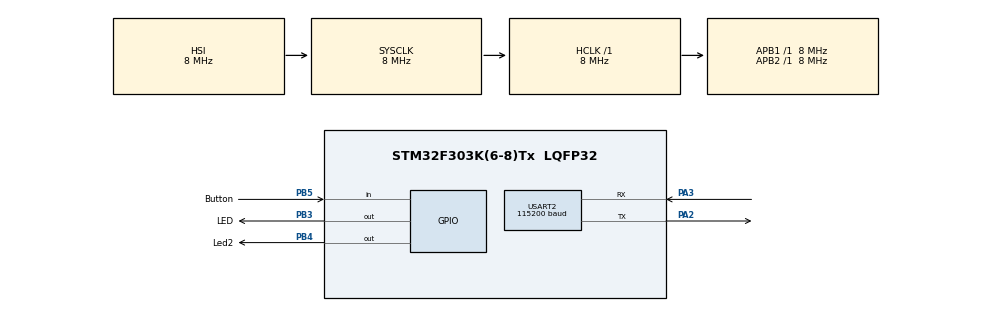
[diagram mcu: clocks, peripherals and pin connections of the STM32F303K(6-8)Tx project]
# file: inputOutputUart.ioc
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Dma.Request0=USART2_TX
Dma.USART2_TX.0.Direction=DMA_MEMORY_TO_PERIPH
Dma.USART2_TX.0.Instance=DMA1_Channel7
Dma.USART2_TX.0.MemDataAlignment=DMA_MDATAALIGN_BYTE
Dma.USART2_TX.0.MemInc=DMA_MINC_ENABLE
Dma.USART2_TX.0.Mode=DMA_CIRCULAR
Dma.USART2_TX.0.PeriphDataAlignment=DMA_PDATAALIGN_BYTE
Dma.USART2_TX.0.PeriphInc=DMA_PINC_DISABLE
Dma.USART2_TX.0.Priority=DMA_PRIORITY_MEDIUM
Mcu.Family=STM32F3
Mcu.Name=STM32F303K(6-8)Tx
Mcu.Package=LQFP32
NVIC.DMA1_Channel7_IRQn=true\:0\:0\:false\:false\:true\:false\:true\:true
NVIC.PriorityGroup=NVIC_PRIORITYGROUP_4
PA13.GPIO_Label=SWDIO
PA13.Signal=SYS_JTMS-SWDIO
PA14.GPIO_Label=SWCLK
PA14.Signal=SYS_JTCK-SWCLK
PA2.Mode=Asynchronous
PA2.Signal=USART2_TX
PA3.Mode=Asynchronous
PA3.Signal=USART2_RX
PB3.GPIO_Label=LED
PB3.Signal=GPIO_Output
PB4.GPIO_Label=Led2
PB4.Signal=GPIO_Output
PB5.GPIO_Label=Button
PB5.Signal=GPIO_Input
PF0\ /\ OSC_IN.GPIO_Label=MCO
PF0\ /\ OSC_IN.Signal=RCC_OSC_IN
ProjectManager.HeapSize=0x200
ProjectManager.StackSize=0x400
ProjectManager.TargetToolchain=STM32CubeIDE
RCC.AHBFreq_Value=8000000
RCC.APB1Freq_Value=8000000
RCC.APB2Freq_Value=8000000
RCC.CortexFreq_Value=8000000
RCC.HSE_VALUE=8000000
RCC.HSI_VALUE=8000000
RCC.SYSCLKFreq_VALUE=8000000
USART2.BaudRate=115200
USART2.VirtualMode-Asynchronous=VM_ASYNC
board=NUCLEO-F303K8

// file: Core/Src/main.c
/* USER CODE BEGIN Header */
/**
  ******************************************************************************
  * @file           : main.c
  * @brief          : Main program body
  ******************************************************************************
  * @attention
  *
  * Copyright (c) 2025 STMicroelectronics.
  * All rights reserved.
  *
  * This software is licensed under terms that can be found in the LICENSE file
  * in the root directory of this software component.
  * If no LICENSE file comes with this software, it is provided AS-IS.
  *
  ******************************************************************************
  */
/* USER CODE END Header */
#include "main.h"

/* USER CODE BEGIN Includes */
#include <stdio.h>
/* USER CODE END Includes */

/* USER CODE BEGIN PD */
#define DB_TIME	185
/* USER CODE END PD */

UART_HandleTypeDef huart2;
DMA_HandleTypeDef hdma_usart2_tx;

/* USER CODE BEGIN PV */
uint8_t c=1;
unsigned long lastState=0;
/* USER CODE END PV */

void SystemClock_Config(void);
static void MX_GPIO_Init(void);
static void MX_DMA_Init(void);
static void MX_USART2_UART_Init(void);
void updateLed(uint8_t counter);

int main(void)
{

  /* USER CODE BEGIN 1 */

	/*
*/

  /* USER CODE END 1 */

  /* MCU Configuration--------------------------------------------------------*/

  /* Reset of all peripherals, Initializes the Flash interface and the Systick. */
  HAL_Init();

  /* Configure the system clock */
  SystemClock_Config();

  /* Initialize all configured peripherals */
  MX_GPIO_Init();
  MX_DMA_Init();
  MX_USART2_UART_Init();
  /* USER CODE BEGIN 2 */
  printf("c: %d\n",c);
  updateLed(c);
  /*HAL_GPIO_WritePin(LED_GPIO_Port, LED_Pin, GPIO_PIN_SET);
  while(HAL_GPIO_ReadPin(Button_GPIO_Port, Button_Pin));
  HAL_GPIO_WritePin(LED_GPIO_Port, LED_Pin, GPIO_PIN_RESET);
  while(HAL_GPIO_ReadPin(Button_GPIO_Port, Button_Pin));*/

  /* USER CODE END 2 */

  /* Infinite loop */
  /* USER CODE BEGIN WHILE */

  while (1)
  {
	  if(HAL_GPIO_ReadPin(Button_GPIO_Port, Button_Pin) == 0){
		  if ((HAL_GetTick() - lastState) > DB_TIME){
			  c++;
			  if (c>2) {c=1;}
			  printf(" %d\n", c);

			  updateLed(c);

		  }
		  lastState=HAL_GetTick();
	  }

    /* USER CODE END WHILE */
  }
}

void SystemClock_Config(void)
{
  RCC_OscInitTypeDef RCC_OscInitStruct = {0};
  RCC_ClkInitTypeDef RCC_ClkInitStruct = {0};

  /** Initializes the RCC Oscillators according to the specified parameters
  * in the RCC_OscInitTypeDef structure.
  */
  RCC_OscInitStruct.OscillatorType = RCC_OSCILLATORTYPE_HSI;
  RCC_OscInitStruct.HSIState = RCC_HSI_ON;
  RCC_OscInitStruct.HSICalibrationValue = RCC_HSICALIBRATION_DEFAULT;
  RCC_OscInitStruct.PLL.PLLState = RCC_PLL_NONE;
  if (HAL_RCC_OscConfig(&RCC_OscInitStruct) != HAL_OK)
  {
    Error_Handler();
  }

  /** Initializes the CPU, AHB and APB buses clocks
  */
  RCC_ClkInitStruct.ClockType = RCC_CLOCKTYPE_HCLK|RCC_CLOCKTYPE_SYSCLK
                              |RCC_CLOCKTYPE_PCLK1|RCC_CLOCKTYPE_PCLK2;
  RCC_ClkInitStruct.SYSCLKSource = RCC_SYSCLKSOURCE_HSI;
  RCC_ClkInitStruct.AHBCLKDivider = RCC_SYSCLK_DIV1;
  RCC_ClkInitStruct.APB1CLKDivider = RCC_HCLK_DIV1;
  RCC_ClkInitStruct.APB2CLKDivider = RCC_HCLK_DIV1;

  if (HAL_RCC_ClockConfig(&RCC_ClkInitStruct, FLASH_LATENCY_0) != HAL_OK)
  {
    Error_Handler();
  }
}

static void MX_USART2_UART_Init(void)
{

  huart2.Instance = USART2;
  huart2.Init.BaudRate = 115200;
  huart2.Init.WordLength = UART_WORDLENGTH_8B;
  huart2.Init.StopBits = UART_STOPBITS_1;
  huart2.Init.Parity = UART_PARITY_NONE;
  huart2.Init.Mode = UART_MODE_TX_RX;
  huart2.Init.HwFlowCtl = UART_HWCONTROL_NONE;
  huart2.Init.OverSampling = UART_OVERSAMPLING_16;
  huart2.Init.OneBitSampling = UART_ONE_BIT_SAMPLE_DISABLE;
  huart2.AdvancedInit.AdvFeatureInit = UART_ADVFEATURE_NO_INIT;
  if (HAL_UART_Init(&huart2) != HAL_OK)
  {
    Error_Handler();
  }

}

static void MX_DMA_Init(void)
{

  /* DMA controller clock enable */
  __HAL_RCC_DMA1_CLK_ENABLE();

  /* DMA interrupt init */
  /* DMA1_Channel7_IRQn interrupt configuration */
  HAL_NVIC_SetPriority(DMA1_Channel7_IRQn, 0, 0);
  HAL_NVIC_EnableIRQ(DMA1_Channel7_IRQn);

}

static void MX_GPIO_Init(void)
{
  GPIO_InitTypeDef GPIO_InitStruct = {0};

  /* GPIO Ports Clock Enable */
  __HAL_RCC_GPIOF_CLK_ENABLE();
  __HAL_RCC_GPIOA_CLK_ENABLE();
  __HAL_RCC_GPIOB_CLK_ENABLE();

  /*Configure GPIO pin Output Level */
  HAL_GPIO_WritePin(GPIOB, LED_Pin|Led2_Pin, GPIO_PIN_RESET);

  /*Configure GPIO pins : LED_Pin Led2_Pin */
  GPIO_InitStruct.Pin = LED_Pin|Led2_Pin;
  GPIO_InitStruct.Mode = GPIO_MODE_OUTPUT_PP;
  GPIO_InitStruct.Pull = GPIO_NOPULL;
  GPIO_InitStruct.Speed = GPIO_SPEED_FREQ_LOW;
  HAL_GPIO_Init(GPIOB, &GPIO_InitStruct);

  /*Configure GPIO pin : Button_Pin */
  GPIO_InitStruct.Pin = Button_Pin;
  GPIO_InitStruct.Mode = GPIO_MODE_INPUT;
  GPIO_InitStruct.Pull = GPIO_NOPULL;
  HAL_GPIO_Init(Button_GPIO_Port, &GPIO_InitStruct);

}

/* USER CODE BEGIN 4 */
int _write(int file, char *ptr, int len) {
    HAL_UART_Transmit(&huart2, (uint8_t*)ptr, len, HAL_MAX_DELAY);
    return len;
}
void updateLed(uint8_t counter){
    switch(counter){
        case 1:
            HAL_GPIO_WritePin(LED_GPIO_Port, LED_Pin, GPIO_PIN_SET);
            HAL_GPIO_WritePin(Led2_GPIO_Port, Led2_Pin, GPIO_PIN_RESET);
  //          HAL_GPIO_WritePin(Led3_GPIO_Port, Led3_Pin, GPIO_PIN_RESET);
            break;
        case 2:
            HAL_GPIO_WritePin(LED_GPIO_Port, LED_Pin, GPIO_PIN_RESET);
            HAL_GPIO_WritePin(Led2_GPIO_Port, Led2_Pin, GPIO_PIN_SET);
      //      HAL_GPIO_WritePin(Led3_GPIO_Port, Led3_Pin, GPIO_PIN_RESET);
            break;
        default: break;
    }
}
/* USER CODE END 4 */

void Error_Handler(void)
{
  __disable_irq();
  while (1)
  {
  }
}
